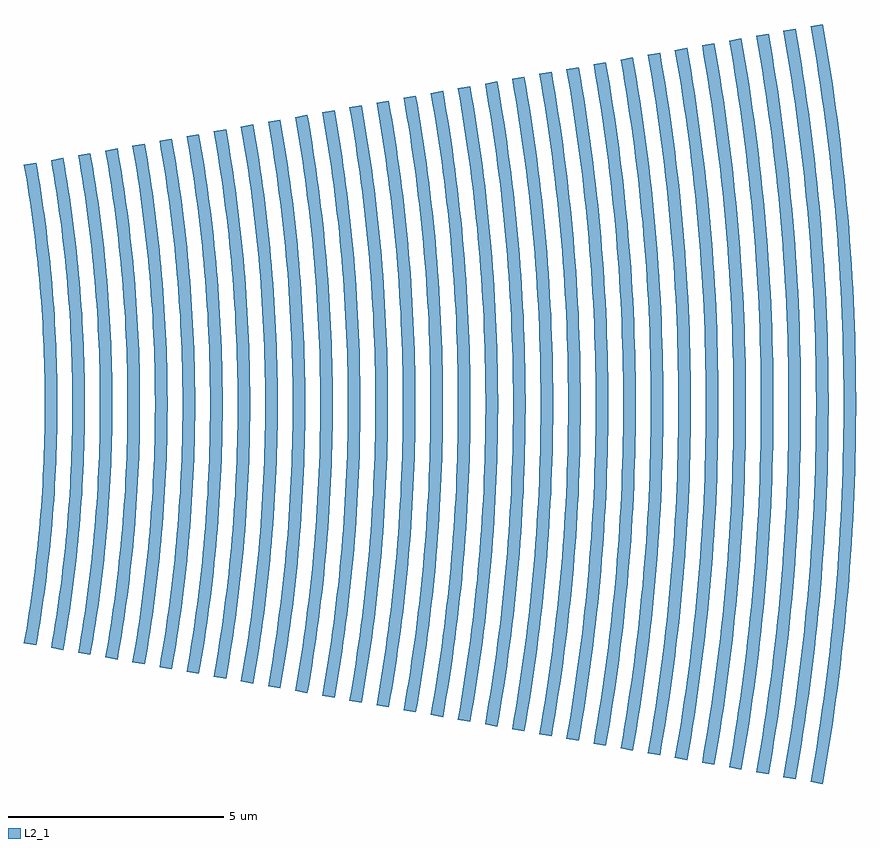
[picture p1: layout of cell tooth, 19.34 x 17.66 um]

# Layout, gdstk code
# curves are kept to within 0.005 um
import gdstk
lib = gdstk.Library(unit=1e-6, precision=1e-10)
def P(c, l, *ps):  # polygons
    for p in ps: c.add(gdstk.Polygon(p, *l))
L2_1 = (2, 1)

tooth = lib.new_cell('tooth')
P(tooth, L2_1, [(31.7994,-5.6071),(31.9159,-4.901),(32.0167,-4.1925),(32.1017,-3.482),(32.1552,-2.9479),(32.2126,-2.2346),(32.2542,-1.5202),(32.28,-0.805),(32.2899,-0.0895),(32.2839,0.6261),(32.2621,1.3414),(32.2245,2.0561),(32.171,2.7697),(32.1017,3.482),(32.0167,4.1925),(31.9159,4.901),(31.7994,5.6071),(31.5138,5.5567),(31.6019,5.0322),(31.7056,4.3306),(31.7938,3.6269),(31.8497,3.0979),(31.9351,2.0376),(31.9724,1.3294),(31.9901,0.7978),(31.9999,0.0887),(31.9901,-0.7978),(31.9557,-1.6836),(31.9105,-2.3914),(31.8497,-3.0979),(31.7517,-3.979),(31.6293,-4.857),(31.5138,-5.5567)],
  [(32.4297,-5.7182),(32.5485,-4.9982),(32.6271,-4.4565),(32.7178,-3.7323),(32.7925,-3.0063),(32.8511,-2.2789),(32.8935,-1.5503),(32.9198,-0.821),(32.9299,-0.0912),(32.9238,0.6386),(32.9016,1.368),(32.8632,2.0968),(32.8086,2.8246),(32.738,3.551),(32.6512,4.2756),(32.5485,4.9982),(32.4297,5.7182),(32.1441,5.6679),(32.3148,4.5963),(32.4087,3.8791),(32.4687,3.3399),(32.5197,2.7997),(32.5738,2.0784),(32.6038,1.5367),(32.6299,0.8137),(32.6399,0.0904),(32.6299,-0.8137),(32.5948,-1.7173),(32.5487,-2.4392),(32.4687,-3.3399),(32.3867,-4.0586),(32.2888,-4.7753),(32.1441,-5.6679)],
  [(33.06,-5.8294),(33.1811,-5.0953),(33.2858,-4.3587),(33.3743,-3.62),(33.4463,-2.8795),(33.5019,-2.1376),(33.5328,-1.5804),(33.5596,-0.8369),(33.5699,-0.093),(33.5637,0.651),(33.541,1.3946),(33.5019,2.1376),(33.4463,2.8795),(33.3743,3.62),(33.2858,4.3587),(33.1811,5.0953),(33.06,5.8294),(32.7744,5.779),(32.8944,5.0513),(32.9738,4.5038),(33.0441,3.9551),(33.1237,3.2219),(33.2125,2.1191),(33.2513,1.3826),(33.2697,0.8297),(33.2799,0.0922),(33.2697,-0.8297),(33.2431,-1.5668),(33.1869,-2.487),(33.1237,-3.2219),(33.0217,-4.1382),(32.9219,-4.8689),(32.7744,-5.779)],
  [(33.6903,-5.9405),(33.8136,-5.1924),(33.9204,-4.4418),(34.0105,-3.689),(34.0839,-2.9344),(34.128,-2.3675),(34.1721,-1.6106),(34.1994,-0.8529),(34.2099,-0.0948),(34.2036,0.6634),(34.1805,1.4212),(34.1406,2.1783),(34.0839,2.9344),(34.0105,3.689),(33.9204,4.4418),(33.8136,5.1924),(33.6903,5.9405),(33.4047,5.8901),(33.582,4.7766),(33.6568,4.2177),(33.742,3.4708),(33.795,2.9095),(33.8512,2.1599),(33.8824,1.5969),(33.9095,0.8456),(33.9199,0.094),(33.9095,-0.8456),(33.8824,-1.5969),(33.8252,-2.5348),(33.742,-3.4708),(33.6568,-4.2177),(33.527,-5.1484),(33.4047,-5.8901)],
  [(34.3206,-6.0516),(34.4462,-5.2896),(34.555,-4.5249),(34.6468,-3.758),(34.7216,-2.9893),(34.7793,-2.2191),(34.8114,-1.6407),(34.8392,-0.8688),(34.8499,-0.0965),(34.8434,0.6758),(34.8199,1.4478),(34.7793,2.2191),(34.7216,2.9893),(34.6468,3.758),(34.555,4.5249),(34.4462,5.2896),(34.3206,6.0516),(34.035,6.0013),(34.1596,5.2456),(34.2421,4.677),(34.3151,4.1073),(34.3977,3.3458),(34.4899,2.2006),(34.5302,1.4357),(34.5493,0.8616),(34.5599,0.0957),(34.5493,-0.8616),(34.5217,-1.627),(34.4634,-2.5827),(34.3977,-3.3458),(34.2918,-4.2973),(34.1596,-5.2456),(34.035,-6.0013)],
  [(34.9508,-6.1628),(35.0788,-5.3867),(35.1896,-4.608),(35.2831,-3.827),(35.3418,-3.24),(35.4049,-2.456),(35.4506,-1.6708),(35.479,-0.8848),(35.4899,-0.0983),(35.4833,0.6882),(35.4594,1.4744),(35.418,2.2598),(35.3592,3.0442),(35.2831,3.827),(35.1896,4.608),(35.0788,5.3867),(34.9508,6.1628),(34.6652,6.1124),(34.7922,5.3427),(34.8762,4.7637),(34.9732,3.9896),(35.0347,3.4077),(35.1286,2.2414),(35.161,1.6572),(35.1891,0.8776),(35.1999,0.0975),(35.1891,-0.8776),(35.161,-1.6572),(35.1016,-2.6305),(35.0347,-3.4077),(34.9268,-4.3769),(34.7922,-5.3427),(34.6652,-6.1124)],
  [(35.5811,-6.2739),(35.7114,-5.4839),(35.8242,-4.6911),(35.8972,-4.095),(35.9791,-3.2985),(36.0434,-2.5003),(36.0899,-1.701),(36.1188,-0.9007),(36.1299,-0.1001),(36.1232,0.7006),(36.0988,1.501),(36.0567,2.3006),(35.9968,3.0991),(35.9193,3.896),(35.8242,4.6911),(35.7114,5.4839),(35.5811,6.2739),(35.2955,6.2236),(35.4248,5.4398),(35.5103,4.8503),(35.6091,4.0621),(35.6717,3.4697),(35.7398,2.6783),(35.7794,2.0839),(35.8289,0.8935),(35.8399,0.0993),(35.8289,-0.8935),(35.8003,-1.6873),(35.7398,-2.6783),(35.6717,-3.4697),(35.5619,-4.4565),(35.4544,-5.2435),(35.2955,-6.2236)],
  [(36.2114,-6.385),(36.344,-5.581),(36.4587,-4.7742),(36.5556,-3.9651),(36.6345,-3.154),(36.6954,-2.3413),(36.7383,-1.5276),(36.7586,-0.9167),(36.7699,-0.1019),(36.7631,0.713),(36.7383,1.5276),(36.6954,2.3413),(36.6345,3.154),(36.5556,3.9651),(36.4587,4.7742),(36.344,5.581),(36.2114,6.385),(35.9258,6.3347),(36.0261,5.7367),(36.1165,5.1371),(36.2215,4.3354),(36.2885,3.7328),(36.3456,3.1291),(36.406,2.3229),(36.4396,1.7174),(36.4687,0.9095),(36.4799,0.1011),(36.4687,-0.9095),(36.4396,-1.7174),(36.378,-2.7262),(36.2885,-3.7328),(36.1969,-4.5361),(36.0875,-5.3371),(35.9258,-6.3347)],
  [(36.8417,-6.4962),(36.9766,-5.6781),(37.0933,-4.8573),(37.1919,-4.0341),(37.2538,-3.4153),(37.3203,-2.5889),(37.3685,-1.7612),(37.3984,-0.9327),(37.4099,-0.1036),(37.403,0.7254),(37.3777,1.5541),(37.3341,2.3821),(37.2721,3.2089),(37.1919,4.0341),(37.0933,4.8573),(36.9766,5.6781),(36.8417,6.4962),(36.5561,6.4458),(36.6582,5.8373),(36.7785,5.0235),(36.8569,4.4115),(36.9252,3.7983),(37.0003,2.979),(37.0447,2.3636),(37.088,1.5421),(37.1085,0.9254),(37.1199,0.1028),(37.1085,-0.9254),(37.0686,-1.953),(37.0162,-2.774),(36.9252,-3.7983),(36.8319,-4.6156),(36.7206,-5.4307),(36.5561,-6.4458)],
  [(37.4719,-6.6073),(37.6092,-5.7753),(37.7279,-4.9404),(37.8281,-4.1031),(37.9098,-3.2638),(37.9728,-2.4228),(38.0172,-1.5807),(38.0382,-0.9486),(38.0499,-0.1054),(38.0428,0.7378),(38.0172,1.5807),(37.9728,2.4228),(37.9098,3.2638),(37.8281,4.1031),(37.7279,4.9404),(37.6092,5.7753),(37.4719,6.6073),(37.1863,6.557),(37.3225,5.7313),(37.4404,4.9027),(37.5167,4.2798),(37.6023,3.4473),(37.6695,2.6131),(37.7181,1.7777),(37.7483,0.9414),(37.7599,0.1046),(37.7529,-0.7322),(37.7274,-1.5687),(37.6834,-2.4044),(37.6208,-3.2389),(37.5398,-4.0718),(37.4404,-4.9027),(37.3225,-5.7313),(37.1863,-6.557)],
  [(38.1022,-6.7184),(38.2417,-5.8724),(38.3625,-5.0235),(38.4644,-4.1721),(38.5474,-3.3187),(38.6115,-2.4636),(38.6471,-1.8215),(38.678,-0.9646),(38.6899,-0.1072),(38.6827,0.7503),(38.6566,1.6073),(38.6115,2.4636),(38.5474,3.3187),(38.4644,4.1721),(38.3625,5.0235),(38.2417,5.8724),(38.1022,6.7184),(37.8166,6.6681),(37.9551,5.8284),(38.0749,4.9858),(38.1761,4.1408),(38.2585,3.2938),(38.3221,2.4451),(38.3574,1.8078),(38.3881,0.9573),(38.3999,0.1064),(38.3928,-0.7446),(38.3668,-1.5953),(38.3221,-2.4451),(38.2585,-3.2938),(38.1761,-4.1408),(38.0749,-4.9858),(37.9551,-5.8284),(37.8166,-6.6681)],
  [(38.7325,-6.8296),(38.8743,-5.9696),(38.9971,-5.1066),(39.0766,-4.4577),(39.1658,-3.5906),(39.2357,-2.7218),(39.2864,-1.8516),(39.3178,-0.9805),(39.3298,-0.109),(39.3226,0.7627),(39.296,1.6339),(39.2502,2.5043),(39.185,3.3736),(39.1007,4.2411),(38.9971,5.1066),(38.8743,5.9696),(38.7325,6.8296),(38.4469,6.7792),(38.5877,5.9255),(38.7095,5.0689),(38.8124,4.2098),(38.877,3.5641),(38.9464,2.7017),(38.9967,1.838),(39.0279,0.9733),(39.0399,0.1082),(39.0327,-0.757),(39.0063,-1.6219),(38.9608,-2.4859),(38.8961,-3.3487),(38.8124,-4.2098),(38.7095,-5.0689),(38.5877,-5.9255),(38.4469,-6.7792)],
  [(39.3628,-6.9407),(39.5069,-6.0667),(39.6317,-5.1897),(39.7369,-4.3101),(39.8227,-3.4285),(39.8742,-2.7661),(39.9257,-1.8817),(39.9576,-0.9965),(39.9698,-0.1107),(39.9625,0.7751),(39.9355,1.6605),(39.8889,2.5451),(39.8227,3.4285),(39.7369,4.3101),(39.6317,5.1897),(39.5069,6.0667),(39.3628,6.9407),(39.0772,6.8904),(39.2203,6.0227),(39.3441,5.152),(39.4486,4.2789),(39.5338,3.4036),(39.5849,2.746),(39.636,1.8681),(39.6677,0.9892),(39.6798,0.1099),(39.6725,-0.7694),(39.6457,-1.6484),(39.5995,-2.5266),(39.5338,-3.4036),(39.4486,-4.2789),(39.3441,-5.152),(39.2203,-6.0227),(39.0772,-6.8904)],
  [(39.993,-7.0519),(40.1395,-6.1638),(40.2364,-5.4958),(40.3483,-4.6028),(40.4404,-3.7075),(40.5126,-2.8104),(40.565,-1.9119),(40.5974,-1.0124),(40.6098,-0.1125),(40.6024,0.7875),(40.5749,1.6871),(40.5276,2.5859),(40.4603,3.4834),(40.3732,4.3791),(40.2662,5.2728),(40.1395,6.1638),(39.993,7.0519),(39.7074,7.0015),(39.8529,6.1198),(39.9787,5.2351),(40.0849,4.3479),(40.1714,3.4585),(40.2382,2.5674),(40.2852,1.675),(40.3075,1.0052),(40.3198,0.1117),(40.3124,-0.7819),(40.2852,-1.675),(40.2382,-2.5674),(40.1714,-3.4585),(40.0849,-4.3479),(39.9787,-5.2351),(39.8529,-6.1198),(39.7074,-7.0015)],
  [(40.6233,-7.163),(40.7721,-6.261),(40.9008,-5.3559),(41.0095,-4.4482),(41.098,-3.5382),(41.1663,-2.6266),(41.2043,-1.942),(41.2372,-1.0284),(41.2498,-0.1143),(41.2422,0.7999),(41.2144,1.7137),(41.1663,2.6266),(41.098,3.5382),(41.0095,4.4482),(40.9008,5.3559),(40.7721,6.261),(40.6233,7.163),(40.3377,7.1126),(40.4854,6.217),(40.6133,5.3182),(40.7212,4.4169),(40.809,3.5134),(40.8769,2.6081),(40.9146,1.9283),(40.9473,1.0212),(40.9598,0.1135),(40.9523,-0.7943),(40.9246,-1.7016),(40.8769,-2.6081),(40.809,-3.5134),(40.7212,-4.4169),(40.6133,-5.3182),(40.4854,-6.217),(40.3377,-7.1126)],
  [(41.2536,-7.2741),(41.4047,-6.3581),(41.5354,-5.439),(41.6201,-4.7478),(41.7151,-3.8243),(41.7896,-2.8989),(41.8436,-1.9721),(41.877,-1.0443),(41.8898,-0.1161),(41.8821,0.8123),(41.8538,1.7403),(41.805,2.6674),(41.7356,3.5931),(41.6457,4.5172),(41.5354,5.439),(41.4047,6.3581),(41.2536,7.2741),(40.968,7.2238),(41.118,6.3141),(41.2479,5.4013),(41.3574,4.4859),(41.4263,3.7979),(41.5003,2.8789),(41.5539,1.9585),(41.5871,1.0371),(41.5998,0.1152),(41.5922,-0.8067),(41.5641,-1.7282),(41.5156,-2.6489),(41.4467,-3.5683),(41.3574,-4.4859),(41.2479,-5.4013),(41.118,-6.3141),(40.968,-7.2238)],
  [(41.8839,-7.3853),(42.0373,-6.4553),(42.17,-5.5221),(42.282,-4.5862),(42.3733,-3.648),(42.4437,-2.7081),(42.4933,-1.7668),(42.5168,-1.0603),(42.5298,-0.1178),(42.522,0.8247),(42.4933,1.7668),(42.4437,2.7081),(42.3733,3.648),(42.282,4.5862),(42.17,5.5221),(42.0373,6.4553),(41.8839,7.3853),(41.5983,7.3349),(41.7506,6.4112),(41.8514,5.7164),(41.9678,4.7875),(42.0636,3.8563),(42.1387,2.9232),(42.1932,1.9886),(42.2269,1.0531),(42.2398,0.117),(42.2321,-0.8191),(42.2035,-1.7548),(42.1543,-2.6896),(42.0843,-3.6232),(41.9937,-4.5549),(41.8824,-5.4844),(41.7506,-6.4112),(41.5983,-7.3349)],
  [(42.5142,-7.4964),(42.6698,-6.5524),(42.8046,-5.6052),(42.9183,-4.6552),(43.0109,-3.7029),(43.0824,-2.7489),(43.1327,-1.7934),(43.1566,-1.0763),(43.1698,-0.1196),(43.1619,0.8371),(43.1327,1.7934),(43.0824,2.7489),(43.0109,3.7029),(42.9183,4.6552),(42.8046,5.6052),(42.6698,6.5524),(42.5142,7.4964),(42.2286,7.446),(42.3832,6.5084),(42.517,5.5675),(42.63,4.6239),(42.722,3.6781),(42.793,2.7304),(42.8325,2.0187),(42.8667,1.069),(42.8798,0.1188),(42.8719,-0.8315),(42.843,-1.7814),(42.793,-2.7304),(42.722,-3.6781),(42.63,-4.6239),(42.517,-5.5675),(42.3832,-6.5084),(42.2286,-7.446)],
  [(43.1444,-7.6075),(43.3024,-6.6495),(43.4391,-5.6883),(43.5545,-4.7242),(43.6485,-3.7578),(43.7211,-2.7896),(43.7722,-1.82),(43.8018,-0.8495),(43.8098,-0.1214),(43.8018,0.8495),(43.7722,1.82),(43.7211,2.7896),(43.6485,3.7578),(43.5545,4.7242),(43.4391,5.6883),(43.3024,6.6495),(43.1444,7.6075),(42.8588,7.5572),(43.0158,6.6055),(43.1516,5.6506),(43.2396,4.9326),(43.3383,3.9731),(43.4157,3.0117),(43.4717,2.0489),(43.5065,1.085),(43.5198,0.1206),(43.5118,-0.8439),(43.4824,-1.808),(43.4317,-2.7711),(43.3596,-3.733),(43.2662,-4.6929),(43.1516,-5.6506),(43.0158,-6.6055),(42.8588,-7.5572)],
  [(43.7747,-7.7187),(43.897,-6.99),(44.0411,-6.0155),(44.1636,-5.038),(44.2644,-4.058),(44.3434,-3.0761),(44.4007,-2.0927),(44.4362,-1.1082),(44.4498,-0.1231),(44.4416,0.8619),(44.4116,1.8466),(44.3598,2.8304),(44.2862,3.8127),(44.1908,4.7932),(44.0737,5.7714),(43.935,6.7467),(43.7747,7.7187),(43.4891,7.6683),(43.6484,6.7027),(43.7862,5.7337),(43.9025,4.762),(43.9756,4.0316),(44.0541,3.056),(44.111,2.079),(44.1463,1.1009),(44.1598,0.1223),(44.1517,-0.8563),(44.1219,-1.8346),(44.0704,-2.8119),(43.9972,-3.7879),(43.9025,-4.762),(43.7862,-5.7337),(43.6484,-6.7027),(43.4891,-7.6683)],
  [(44.405,-7.8298),(44.5676,-6.8438),(44.6752,-6.1021),(44.7994,-5.1105),(44.9017,-4.1165),(44.9819,-3.1204),(45.04,-2.1228),(45.076,-1.1241),(45.0898,-0.1249),(45.0815,0.8744),(45.0511,1.8732),(44.9985,2.8711),(44.9238,3.8676),(44.8271,4.8622),(44.7083,5.8545),(44.5676,6.8438),(44.405,7.8298),(44.1194,7.7794),(44.281,6.7998),(44.4208,5.8168),(44.5388,4.831),(44.6349,3.8428),(44.7091,2.8527),(44.7613,1.8611),(44.7861,1.1169),(44.7998,0.1241),(44.7916,-0.8687),(44.7613,-1.8611),(44.7091,-2.8527),(44.6349,-3.8428),(44.5388,-4.831),(44.4208,-5.8168),(44.281,-6.7998),(44.1194,-7.7794)],
  [(45.0353,-7.9409),(45.2002,-6.941),(45.3429,-5.9376),(45.4633,-4.9313),(45.5615,-3.9225),(45.6204,-3.1647),(45.6793,-2.1529),(45.7158,-1.1401),(45.7298,-0.1267),(45.7214,0.8868),(45.6905,1.8998),(45.6372,2.9119),(45.5615,3.9225),(45.4633,4.9313),(45.3429,5.9376),(45.2002,6.941),(45.0353,7.9409),(44.7497,7.8906),(44.9135,6.8969),(45.0554,5.8999),(45.175,4.9),(45.2725,3.8977),(45.3478,2.8934),(45.4008,1.8877),(45.4315,0.8811),(45.4398,0.1259),(45.4315,-0.8811),(45.4008,-1.8877),(45.3478,-2.8934),(45.2725,-3.8977),(45.175,-4.9),(45.0554,-5.8999),(44.9135,-6.8969),(44.7497,-7.8906)],
  [(45.6655,-8.0521),(45.8328,-7.0381),(45.9775,-6.0207),(46.0712,-5.2556),(46.1764,-4.2333),(46.2588,-3.209),(46.3186,-2.183),(46.3556,-1.156),(46.3698,-0.1285),(46.3613,0.8992),(46.33,1.9264),(46.2759,2.9526),(46.1991,3.9774),(46.0996,5.0003),(45.9775,6.0207),(45.8328,7.0381),(45.6655,8.0521),(45.3799,8.0017),(45.5067,7.2463),(45.6561,6.2361),(45.7831,5.2227),(45.8876,4.2069),(45.9695,3.1889),(46.0289,2.1694),(46.0657,1.1488),(46.0798,0.1277),(46.0713,-0.8936),(46.0402,-1.9143),(45.9865,-2.9342),(45.9102,-3.9525),(45.8113,-4.969),(45.6899,-5.983),(45.5461,-6.9941),(45.3799,-8.0017)],
  [(46.2958,-8.1632),(46.4653,-7.1352),(46.6121,-6.1038),(46.7071,-5.3282),(46.8137,-4.2918),(46.8973,-3.2533),(46.9579,-2.2132),(46.9954,-1.172),(47.0098,-0.1302),(47.0012,0.9116),(46.9694,1.953),(46.9146,2.9934),(46.8367,4.0323),(46.7359,5.0693),(46.6121,6.1038),(46.4653,7.1352),(46.2958,8.1632),(46.0102,8.1128),(46.1387,7.347),(46.2902,6.3227),(46.4189,5.2953),(46.5249,4.2653),(46.608,3.2332),(46.6682,2.1995),(46.7055,1.1648),(46.7198,0.1294),(46.7112,-0.906),(46.6797,-1.9409),(46.6252,-2.9749),(46.5478,-4.0074),(46.4476,-5.038),(46.3245,-6.0661),(46.1787,-7.0912),(46.0102,-8.1128)],
  [(46.9261,-8.2743),(47.0979,-7.2324),(47.2466,-6.1869),(47.3721,-5.1383),(47.4744,-4.0872),(47.5533,-3.0341),(47.6089,-1.9795),(47.6352,-1.1879),(47.6498,-0.132),(47.641,0.924),(47.6089,1.9795),(47.5533,3.0341),(47.4744,4.0872),(47.3721,5.1383),(47.2466,6.1869),(47.0979,7.2324),(46.9261,8.2743),(46.6405,8.224),(46.8113,7.1884),(46.9591,6.1492),(47.0838,5.107),(47.1855,4.0623),(47.2465,3.2775),(47.3075,2.2297),(47.3453,1.1807),(47.3598,0.1312),(47.3511,-0.9184),(47.3191,-1.9675),(47.2639,-3.0157),(47.1855,-4.0623),(47.0838,-5.107),(46.9591,-6.1492),(46.8113,-7.1884),(46.6405,-8.224)],
  [(47.5564,-8.3855),(47.7305,-7.3295),(47.8812,-6.2699),(48.0084,-5.2073),(48.112,-4.1421),(48.192,-3.0749),(48.2365,-2.2734),(48.275,-1.2039),(48.2898,-0.1338),(48.2809,0.9364),(48.2483,2.0061),(48.192,3.0749),(48.112,4.1421),(48.0084,5.2073),(47.8812,6.2699),(47.7305,7.3295),(47.5564,8.3855),(47.2708,8.3351),(47.4439,7.2855),(47.5937,6.2323),(47.7201,5.176),(47.8231,4.1172),(47.9026,3.0564),(47.9586,1.9941),(47.991,0.9308),(47.9998,0.133),(47.991,-0.9308),(47.9586,-1.9941),(47.9026,-3.0564),(47.8231,-4.1172),(47.7201,-5.176),(47.5937,-6.2323),(47.4439,-7.2855),(47.2708,-8.3351)],
  [(48.1866,-8.4966),(48.3212,-7.6945),(48.4799,-6.6218),(48.6147,-5.5458),(48.7257,-4.4671),(48.8127,-3.3861),(48.8757,-2.3036),(48.9148,-1.2199),(48.9298,-0.1356),(48.9208,0.9488),(48.8878,2.0327),(48.8307,3.1156),(48.7497,4.197),(48.6447,5.2763),(48.5158,6.353),(48.3631,7.4266),(48.1866,8.4966),(47.901,8.4462),(48.0765,7.3826),(48.2283,6.3154),(48.3564,5.2451),(48.4369,4.4406),(48.5234,3.3661),(48.5861,2.2899),(48.6249,1.2126),(48.6398,0.1348),(48.6309,-0.9432),(48.598,-2.0207),(48.5413,-3.0972),(48.4607,-4.1721),(48.3564,-5.2451),(48.2283,-6.3154),(48.0765,-7.3826),(47.901,-8.4462)],
  [(48.8169,-8.6077),(48.9957,-7.5238),(49.114,-6.7084),(49.2506,-5.6183),(49.363,-4.5255),(49.4512,-3.4304),(49.515,-2.3337),(49.5546,-1.2358),(49.5698,-0.1373),(49.5607,0.9612),(49.5272,2.0593),(49.4694,3.1564),(49.3873,4.2519),(49.281,5.3453),(49.1504,6.4361),(48.9957,7.5238),(48.8169,8.6077),(48.5313,8.5574),(48.709,7.4798),(48.8628,6.3985),(48.9926,5.3141),(49.0984,4.227),(49.18,3.1379),(49.2375,2.0473),(49.2647,1.2286),(49.2798,0.1365),(49.2707,-0.9556),(49.2375,-2.0473),(49.18,-3.1379),(49.0984,-4.227),(48.9926,-5.3141),(48.8628,-6.3985),(48.709,-7.4798),(48.5313,-8.5574)],
  [(49.4472,-8.7189),(49.6283,-7.6209),(49.785,-6.5192),(49.8865,-5.6908),(50.0003,-4.5839),(50.0896,-3.4747),(50.1543,-2.3638),(50.1944,-1.2518),(50.2098,-0.1391),(50.2006,0.9736),(50.1667,2.0859),(50.1081,3.1971),(50.0249,4.3068),(49.9172,5.4144),(49.785,6.5192),(49.6283,7.6209),(49.4472,8.7189),(49.1616,8.6685),(49.3416,7.5769),(49.4974,6.4816),(49.6289,5.3831),(49.736,4.2819),(49.8187,3.1787),(49.8769,2.0739),(49.9045,1.2445),(49.9198,0.1383),(49.9106,-0.968),(49.8769,-2.0739),(49.8187,-3.1787),(49.736,-4.2819),(49.6289,-5.3831),(49.4974,-6.4816),(49.3416,-7.5769),(49.1616,-8.6685)],
  [(50.0775,-8.83),(50.2609,-7.7181),(50.4196,-6.6023),(50.5535,-5.4834),(50.6626,-4.3617),(50.7468,-3.2379),(50.8061,-2.1125),(50.8342,-1.2677),(50.8498,-0.1409),(50.8404,0.986),(50.8061,2.1125),(50.7468,3.2379),(50.6626,4.3617),(50.5535,5.4834),(50.4196,6.6023),(50.2609,7.7181),(50.0775,8.83),(49.7919,8.7797),(49.9742,7.6741),(50.0949,6.8424),(50.2342,5.7305),(50.3489,4.6159),(50.4388,3.4989),(50.5039,2.3803),(50.5443,1.2605),(50.5598,0.1401),(50.5505,-0.9804),(50.5164,-2.1004),(50.4574,-3.2194),(50.3737,-4.3368),(50.2652,-5.4521),(50.132,-6.5647),(49.9742,-7.6741),(49.7919,-8.7797)])

lib.write_gds('tooth.gds')
